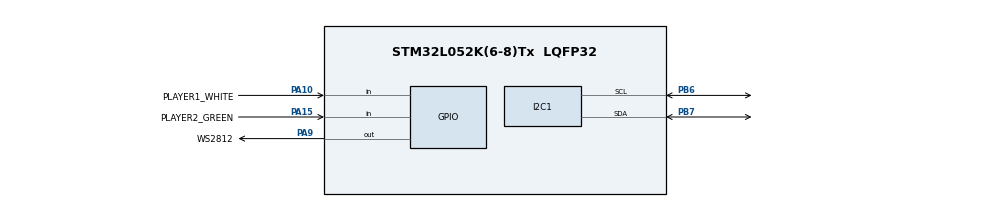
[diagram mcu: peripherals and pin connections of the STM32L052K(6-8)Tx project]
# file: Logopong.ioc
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I2C1.Timing=0x00303D5B
Mcu.Family=STM32L0
Mcu.Name=STM32L052K(6-8)Tx
Mcu.Package=LQFP32
PA10.GPIO_Label=PLAYER1_WHITE
PA10.GPIO_PuPd=GPIO_PULLUP
PA10.Signal=GPIO_Input
PA15.GPIO_Label=PLAYER2_GREEN
PA15.GPIO_PuPd=GPIO_PULLUP
PA15.Signal=GPIO_Input
PA9.GPIO_Label=WS2812
PA9.Signal=GPIO_Output
PB6.Mode=I2C
PB6.Signal=I2C1_SCL
PB7.Mode=I2C
PB7.Signal=I2C1_SDA
ProjectManager.HeapSize=0x200
ProjectManager.StackSize=0x400
ProjectManager.TargetToolchain=STM32CubeIDE
RCC.AHBFreq_Value=16000000
RCC.APB1Freq_Value=16000000
RCC.APB1TimFreq_Value=16000000
RCC.APB2Freq_Value=16000000
RCC.APB2TimFreq_Value=16000000
RCC.HCLKFreq_Value=16000000
RCC.HSI16_VALUE=16000000
RCC.HSI48_VALUE=48000000
RCC.HSI_VALUE=16000000
RCC.LSE_VALUE=32768
RCC.MSI_VALUE=2097000
RCC.SYSCLKFreq_VALUE=16000000
RCC.SYSCLKSource=RCC_SYSCLKSOURCE_HSI
RCC.VCOOutputFreq_Value=48000000
board=custom

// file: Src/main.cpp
/* USER CODE BEGIN Header */
/**
  ******************************************************************************
  * @file           : main.c
  * @brief          : Main program body
  ******************************************************************************
  * @attention
  *
  * <h2><center>&copy; Copyright (c) 2019 STMicroelectronics.
  * All rights reserved.</center></h2>
  *
  * This software component is licensed by ST under BSD 3-Clause license,
  * the "License"; You may not use this file except in compliance with the
  * License. You may obtain a copy of the License at:
  *                        opensource.org/licenses/BSD-3-Clause
  *
  ******************************************************************************
  */
/* USER CODE END Header */

#include "main.h"

/* USER CODE BEGIN Includes */
#include <string.h>
#include "gameEngine.h"
#include "pingpong.h"
#include "vl53l0x_api.h"
#include "WS2812B.h"

/* USER CODE END Includes */

void SystemClock_Config(void);
static void MX_GPIO_Init(void);
static void MX_I2C1_Init(void);
static void animationStart(WS2812B *leds);

int main(void)
{
  /* USER CODE BEGIN 1 */

  // WS2812
  WS2812B leds(61);
  // Game
  Game_States game_state;
  PingPong game(61);
  // ToF sensor
  VL53L0X_Dev_t MyDevice;
  VL53L0X_Dev_t *pMyDevice = &MyDevice;
  VL53L0X_Error Status = VL53L0X_ERROR_NONE;
  VL53L0X_DeviceInfo_t                DeviceInfo;

  /* USER CODE END 1 */

  /* MCU Configuration--------------------------------------------------------*/

  /* Reset of all peripherals, Initializes the Flash interface and the Systick. */

  LL_APB2_GRP1_EnableClock(LL_APB2_GRP1_PERIPH_SYSCFG);
  LL_APB1_GRP1_EnableClock(LL_APB1_GRP1_PERIPH_PWR);

  /* System interrupt init*/

  /* Configure the system clock */
  SystemClock_Config();

  /* Initialize all configured peripherals */
  MX_GPIO_Init();
  MX_I2C1_Init();
  /* USER CODE BEGIN 2 */

  leds.setMemory(game.pixel_array, game.pixel_total);
  leds.update();

  // Initialize Comms
  pMyDevice->I2cDevAddr      = 0x52;
  pMyDevice->comms_type      =  1;
  pMyDevice->comms_speed_khz =  400;

  animationStart(&leds);

  /*if(Status == VL53L0X_ERROR_NONE) {
    printf ("Call of VL53L0X_DataInit\n");
    Status = VL53L0X_DataInit(&MyDevice); // Data initialization
    Status = VL53L0X_GetDeviceInfo(&MyDevice, &DeviceInfo);
  }*/

  /* USER CODE END 2 */

  /* Infinite loop */
  /* USER CODE BEGIN WHILE */
  while (1)
  {
    /*leds.setColorAll(blue);
    leds.setColorIndex(3, green),
    leds.update();
    LL_mDelay(1000);
    leds.setColorAll(green);
    leds.setColorRange(4, 3, blue);
    leds.update();
    LL_mDelay(1000);
    leds.setColorAll(red);
    leds.update();
    LL_mDelay(1000);*/
    uint8_t player_1 = LL_GPIO_IsInputPinSet(PLAYER1_WHITE_GPIO_Port, PLAYER1_WHITE_Pin);
    uint8_t player_2 = LL_GPIO_IsInputPinSet(PLAYER2_GREEN_GPIO_Port, PLAYER2_GREEN_Pin);
    if (player_1 == 0) {
      game_state = game.process(1);
    } else if (player_2 == 0) {
      game_state = game.process(2);
    } else {
      game_state = game.process(0);
    }
    leds.setMemory(game.pixel_array, game.pixel_total);
    leds.update();
    if (game_state != PLAY) {
      LL_mDelay(5000);
      NVIC_SystemReset();
    }
    LL_mDelay(65*game.speed_factor);
    /* USER CODE END WHILE */

  }
}

void SystemClock_Config(void)
{
  LL_FLASH_SetLatency(LL_FLASH_LATENCY_0);

  if(LL_FLASH_GetLatency() != LL_FLASH_LATENCY_0)
  {
  Error_Handler();
  }
  LL_PWR_SetRegulVoltageScaling(LL_PWR_REGU_VOLTAGE_SCALE1);
  LL_RCC_HSI_Enable();

   /* Wait till HSI is ready */
  while(LL_RCC_HSI_IsReady() != 1)
  {

  }
  LL_RCC_HSI_SetCalibTrimming(16);
  LL_RCC_SetAHBPrescaler(LL_RCC_SYSCLK_DIV_1);
  LL_RCC_SetAPB1Prescaler(LL_RCC_APB1_DIV_1);
  LL_RCC_SetAPB2Prescaler(LL_RCC_APB2_DIV_1);
  LL_RCC_SetSysClkSource(LL_RCC_SYS_CLKSOURCE_HSI);

   /* Wait till System clock is ready */
  while(LL_RCC_GetSysClkSource() != LL_RCC_SYS_CLKSOURCE_STATUS_HSI)
  {

  }
  LL_Init1msTick(16000000);
  LL_SYSTICK_SetClkSource(LL_SYSTICK_CLKSOURCE_HCLK);
  LL_SetSystemCoreClock(16000000);
  LL_RCC_SetI2CClockSource(LL_RCC_I2C1_CLKSOURCE_PCLK1);
}

static void MX_I2C1_Init(void)
{

  LL_I2C_InitTypeDef I2C_InitStruct = {0};

  LL_GPIO_InitTypeDef GPIO_InitStruct = {0};

  LL_IOP_GRP1_EnableClock(LL_IOP_GRP1_PERIPH_GPIOB);
  /**I2C1 GPIO Configuration
  PB6   ------> I2C1_SCL
  PB7   ------> I2C1_SDA
  */
  GPIO_InitStruct.Pin = LL_GPIO_PIN_6;
  GPIO_InitStruct.Mode = LL_GPIO_MODE_ALTERNATE;
  GPIO_InitStruct.Speed = LL_GPIO_SPEED_FREQ_VERY_HIGH;
  GPIO_InitStruct.OutputType = LL_GPIO_OUTPUT_OPENDRAIN;
  GPIO_InitStruct.Pull = LL_GPIO_PULL_UP;
  GPIO_InitStruct.Alternate = LL_GPIO_AF_1;
  LL_GPIO_Init(GPIOB, &GPIO_InitStruct);

  GPIO_InitStruct.Pin = LL_GPIO_PIN_7;
  GPIO_InitStruct.Mode = LL_GPIO_MODE_ALTERNATE;
  GPIO_InitStruct.Speed = LL_GPIO_SPEED_FREQ_VERY_HIGH;
  GPIO_InitStruct.OutputType = LL_GPIO_OUTPUT_OPENDRAIN;
  GPIO_InitStruct.Pull = LL_GPIO_PULL_UP;
  GPIO_InitStruct.Alternate = LL_GPIO_AF_1;
  LL_GPIO_Init(GPIOB, &GPIO_InitStruct);

  /* Peripheral clock enable */
  LL_APB1_GRP1_EnableClock(LL_APB1_GRP1_PERIPH_I2C1);

  /** I2C Initialization
  */
  LL_I2C_EnableAutoEndMode(I2C1);
  LL_I2C_DisableOwnAddress2(I2C1);
  LL_I2C_DisableGeneralCall(I2C1);
  LL_I2C_EnableClockStretching(I2C1);
  I2C_InitStruct.PeripheralMode = LL_I2C_MODE_I2C;
  I2C_InitStruct.Timing = 0x00303D5B;
  I2C_InitStruct.AnalogFilter = LL_I2C_ANALOGFILTER_ENABLE;
  I2C_InitStruct.DigitalFilter = 0;
  I2C_InitStruct.OwnAddress1 = 0;
  I2C_InitStruct.TypeAcknowledge = LL_I2C_ACK;
  I2C_InitStruct.OwnAddrSize = LL_I2C_OWNADDRESS1_7BIT;
  LL_I2C_Init(I2C1, &I2C_InitStruct);
  LL_I2C_SetOwnAddress2(I2C1, 0, LL_I2C_OWNADDRESS2_NOMASK);

}

static void MX_GPIO_Init(void)
{
  LL_GPIO_InitTypeDef GPIO_InitStruct = {0};

  /* GPIO Ports Clock Enable */
  LL_IOP_GRP1_EnableClock(LL_IOP_GRP1_PERIPH_GPIOA);
  LL_IOP_GRP1_EnableClock(LL_IOP_GRP1_PERIPH_GPIOB);

  /**/
  LL_GPIO_ResetOutputPin(WS2812_GPIO_Port, WS2812_Pin);

  /**/
  GPIO_InitStruct.Pin = WS2812_Pin;
  GPIO_InitStruct.Mode = LL_GPIO_MODE_OUTPUT;
  GPIO_InitStruct.Speed = LL_GPIO_SPEED_FREQ_LOW;
  GPIO_InitStruct.OutputType = LL_GPIO_OUTPUT_PUSHPULL;
  GPIO_InitStruct.Pull = LL_GPIO_PULL_NO;
  LL_GPIO_Init(WS2812_GPIO_Port, &GPIO_InitStruct);

  /**/
  GPIO_InitStruct.Pin = PLAYER1_WHITE_Pin;
  GPIO_InitStruct.Mode = LL_GPIO_MODE_INPUT;
  GPIO_InitStruct.Pull = LL_GPIO_PULL_UP;
  LL_GPIO_Init(PLAYER1_WHITE_GPIO_Port, &GPIO_InitStruct);

  /**/
  GPIO_InitStruct.Pin = PLAYER2_GREEN_Pin;
  GPIO_InitStruct.Mode = LL_GPIO_MODE_INPUT;
  GPIO_InitStruct.Pull = LL_GPIO_PULL_UP;
  LL_GPIO_Init(PLAYER2_GREEN_GPIO_Port, &GPIO_InitStruct);

}

/* USER CODE BEGIN 4 */

void animationStart(WS2812B *leds) {
  s_color red  = {0, 255, 0};
  s_color green  = {255, 0, 0};
  s_color mix = {0, 0, 0};

  leds->setColorRange(61/3, 61/3, red);
  leds->update();
  LL_mDelay(750);

  for (uint8_t i=0; i<101; i++) {
    mix.r = red.r*(100-i)/100+green.r*i/100;
    mix.g = red.g*(100-i)/100+green.g*i/100;
    mix.b = red.b*(100-i)/100+green.b*i/100;
    leds->setColorRange(61/3, 61/3, mix);
    leds->update();
    LL_mDelay(20);
  }

  LL_mDelay(750);
}

/* USER CODE END 4 */

void Error_Handler(void)
{
}

/************************ (C) COPYRIGHT STMicroelectronics *****END OF FILE****/
